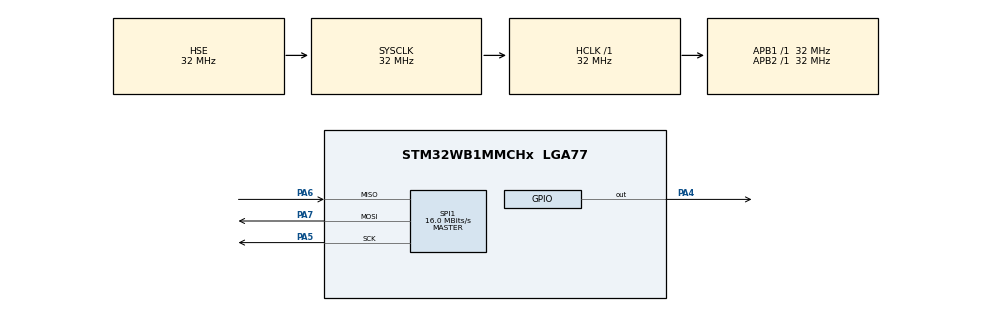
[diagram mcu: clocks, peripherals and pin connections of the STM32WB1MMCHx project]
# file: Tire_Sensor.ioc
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Mcu.Family=STM32WB
Mcu.Name=STM32WB1MMCHx
Mcu.Package=LGA77
NVIC.HSEM_IRQn=true\:0\:0\:false\:false\:true\:false\:true\:true
NVIC.IPCC_C1_RX_IRQn=true\:0\:0\:false\:false\:true\:true\:true\:true
NVIC.IPCC_C1_TX_IRQn=true\:0\:0\:false\:false\:true\:true\:true\:true
NVIC.PriorityGroup=NVIC_PRIORITYGROUP_4
NVIC.RTC_WKUP_IRQn=true\:0\:0\:false\:false\:true\:true\:true\:true
PA4.Signal=GPIO_Output
PA5.Mode=Full_Duplex_Master
PA5.Signal=SPI1_SCK
PA6.Mode=Full_Duplex_Master
PA6.Signal=SPI1_MISO
PA7.Mode=Full_Duplex_Master
PA7.Signal=SPI1_MOSI
ProjectManager.HeapSize=0x200
ProjectManager.StackSize=0x400
ProjectManager.TargetToolchain=STM32CubeIDE
RCC.AHBFreq_Value=32000000
RCC.APB1Freq_Value=32000000
RCC.APB1TimFreq_Value=32000000
RCC.APB2Freq_Value=32000000
RCC.APB2TimFreq_Value=32000000
RCC.APB3Freq_Value=16000000
RCC.CortexFreq_Value=32000000
RCC.HCLKFreq_Value=32000000
RCC.HSE_VALUE=32000000
RCC.HSI_VALUE=16000000
RCC.PLLM=RCC_PLLM_DIV2
RCC.PLLN=6
RCC.PLLSourceVirtual=RCC_PLLSOURCE_HSE
RCC.RFWKPClockSelection=RCC_RFWKPCLKSOURCE_LSE
RCC.RTCClockSelection=RCC_RTCCLKSOURCE_LSE
RCC.SMPSCLockSelectionVirtual=RCC_SMPSCLKSOURCE_HSE
RCC.SMPSDivider=4
RCC.SYSCLKFreq_VALUE=32000000
RCC.SYSCLKSource=RCC_SYSCLKSOURCE_HSE
RCC.VCOOutputFreq_Value=96000000
SPI1.CalculateBaudRate=16.0 MBits/s
SPI1.Direction=SPI_DIRECTION_2LINES
SPI1.Mode=SPI_MODE_MASTER
SPI1.VirtualType=VM_MASTER
STM32_WPAN.AD_TYPE_128_BIT_SERV_UUID_CMPLT_LIST=00,00,23,23,CC,7A,48,2A,98,4A,7F,2E,D5,B3,E5,8F
STM32_WPAN.AD_TYPE_128_BIT_SERV_UUID_CMPLT_LIST_INV=[8F, E5, B3, D5, 2E, 7F, 4A, 98, 2A, 48, 7A, CC, 23, 23, 00, 00]
STM32_WPAN.AD_TYPE_COMPLETE_LOCAL_NAME=SENSOR1
STM32_WPAN.AD_TYPE_COMPLETE_LOCAL_NAME_LENGTH=8
STM32_WPAN.AD_TYPE_SHORTENED_LOCAL_NAME=S1
STM32_WPAN.AD_TYPE_SHORTENED_LOCAL_NAME_LENGTH=3
STM32_WPAN.CFG_BONDING_MODE=1
STM32_WPAN.CFG_LSCLK_LSE=0
STM32_WPAN.CFG_TX_POWER=(0x1F) /* 6dBm */
STM32_WPAN.CUSTOM_P2P_SERVER=Disabled
STM32_WPAN.CUSTOM_TEMPLATE=Enabled
STM32_WPAN.INCLUDE_AD_TYPE_128_BIT_SERV_UUID_CMPLT_LIST=1
STM32_WPAN.INCLUDE_AD_TYPE_16_BIT_SERV_UUID_CMPLT_LIST=0
STM32_WPAN.INCLUDE_AD_TYPE_COMPLETE_LOCAL_NAME=0
STM32_WPAN.INCLUDE_AD_TYPE_LE_ROLE=1
STM32_WPAN.INCLUDE_AD_TYPE_SHORTENED_LOCAL_NAME=1
STM32_WPAN.NUMBER_OF_SERVICES=1
STM32_WPAN.PAIRING_PARAMETERS=ON
STM32_WPAN.SERVICE1_CHAR1_GATT_NOTIFY_ATTRIBUTE_WRITE=\ 
STM32_WPAN.SERVICE1_CHAR1_GATT_NOTIFY_WRITE_REQ_AND_WAIT_FOR_APPL_RESP=\ 
STM32_WPAN.SERVICE1_CHAR1_LENGTH_CHARACTERISTIC=CHAR_VALUE_LEN_VARIABLE
STM32_WPAN.SERVICE1_CHAR1_LONG_NAME=Temperature_Pressure
STM32_WPAN.SERVICE1_CHAR1_PROP_NOTIFY=CHAR_PROP_NOTIFY
STM32_WPAN.SERVICE1_CHAR1_PROP_READ=CHAR_PROP_READ
STM32_WPAN.SERVICE1_CHAR1_SHORT_NAME=Temperature_Pressure
STM32_WPAN.SERVICE1_CHAR1_UUID=23 24
STM32_WPAN.SERVICE1_CHAR1_VALUE_LENGTH=8
STM32_WPAN.SERVICE1_LONG_NAME=sensor
STM32_WPAN.SERVICE1_SHORT_NAME=sensor
STM32_WPAN.SERVICE1_UUID=23 23
VP_HSEM_VS_HSEM.Mode=HSEM_Activate
VP_IPCC_VS_IPCC.Mode=IPCC_Activate
VP_MEMORYMAP_VS_MEMORYMAP.Mode=CurAppReg
VP_RCC_V_OSC32_IN.Mode=LSE-External-Clock-Source
VP_RCC_V_OSC_IN.Mode=HSE-External-Clock-Source
VP_RF_VS_RF.Mode=RF_Activate
VP_RTC_VS_RTC_Activate.Mode=RTC_Enabled
VP_RTC_VS_RTC_WakeUp_intern.Mode=WakeUp
VP_SEQUENCER_VS_SEQUENCER.Mode=SEQUENCER_Enabled
VP_STM32_WPAN_VS_BLE_HOST.Mode=STM32_WPAN_Enabled
VP_TINY_LPM_VS_TINY_LPM.Mode=TINY_LPM_Enabled
board=custom

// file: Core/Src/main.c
/* USER CODE BEGIN Header */
/**
 ******************************************************************************
 * @file           : main.c
 * @brief          : Main program body
 ******************************************************************************
 * @attention
 *
 * Copyright (c) 2025 STMicroelectronics.
 * All rights reserved.
 *
 * This software is licensed under terms that can be found in the LICENSE file
 * in the root directory of this software component.
 * If no LICENSE file comes with this software, it is provided AS-IS.
 *
 ******************************************************************************
 */
/* USER CODE END Header */
#include "main.h"

/* USER CODE BEGIN Includes */
#include "stm32_lpm.h"
/* USER CODE END Includes */

IPCC_HandleTypeDef hipcc;

RTC_HandleTypeDef hrtc;

SPI_HandleTypeDef hspi1;

/* USER CODE BEGIN PV */
uint8_t reset_cmd = 0b00010000;
uint8_t pressure_write_config_cmd = 0b0010000;
uint8_t temp_write_config_cmd = 0b0010001;
uint8_t pressure_read_config_cmd = 0b0010100;
uint8_t temp_read_config_cmd = 0b0010101;
uint8_t read_serial_no_high_cmd = 0b11100100;
uint8_t read_serial_no_low_cmd = 0b11100110;
uint8_t read_c1_cmd = 0b11101000;
uint8_t read_c2_cmd = 0b11101010;
uint8_t read_c3_cmd = 0b11101100;
uint8_t read_c4_cmd = 0b11101110;
uint8_t read_c5_cmd = 0b11110000;
uint8_t read_c6_cmd = 0b11110010;
uint8_t read_c7_cmd = 0b11110100;
uint8_t read_c8_cmd = 0b11110110;
uint8_t read_c9_cmd = 0b11111000;
uint8_t read_c10_cmd = 0b11111010;
uint8_t read_pid_crc_cmd = 0b11111110;
uint8_t start_conversion_cmd = 0b01001100;
uint8_t read_adc_cmd = 0b01011100;
uint16_t C1 = 0;
uint16_t C2 = 0;
uint16_t C3 = 0;
uint16_t C4 = 0;
uint16_t C5 = 0;
uint16_t C6 = 0;
uint16_t C7 = 0;
uint16_t C8 = 0;
uint16_t C9 = 0;
uint16_t C10 = 0;
uint32_t raw_pressure;
uint32_t raw_temp;
float temperature;
float offset;
float sensitivity;
float pressure;
uint8_t TX_BUFFER[1];
uint8_t RX_BUFFER[8];
/* USER CODE END PV */

void SystemClock_Config(void);
void PeriphCommonClock_Config(void);
static void MX_GPIO_Init(void);
static void MX_IPCC_Init(void);
static void MX_RTC_Init(void);
static void MX_SPI1_Init(void);
static void MX_RF_Init(void);

int main(void)
{

  /* MCU Configuration--------------------------------------------------------*/

  /* Reset of all peripherals, Initializes the Flash interface and the Systick. */
  HAL_Init();
  /* Config code for STM32_WPAN (HSE Tuning must be done before system clock configuration) */
  MX_APPE_Config();

  /* Configure the system clock */
  SystemClock_Config();

  /* Configure the peripherals common clocks */
  PeriphCommonClock_Config();

  /* IPCC initialisation */
  MX_IPCC_Init();

  /* USER CODE BEGIN SysInit */
  if (__HAL_PWR_GET_FLAG(PWR_FLAG_SB) != RESET)
   {

   }
  /* USER CODE END SysInit */

  /* Initialize all configured peripherals */
  MX_GPIO_Init();
  MX_RTC_Init();
  MX_SPI1_Init();
  MX_RF_Init();
  /* USER CODE BEGIN 2 */
	HAL_Delay(100);
	TX_BUFFER[0] = reset_cmd;
	HAL_GPIO_WritePin(GPIOA, GPIO_PIN_4, GPIO_PIN_RESET);
	HAL_SPI_Transmit(&hspi1, TX_BUFFER, 1, 1000);
	HAL_GPIO_WritePin(GPIOA, GPIO_PIN_4, GPIO_PIN_SET);
	HAL_Delay(100);

	TX_BUFFER[0] = read_c1_cmd;
	HAL_GPIO_WritePin(GPIOA, GPIO_PIN_4, GPIO_PIN_RESET);
	HAL_SPI_Transmit(&hspi1, TX_BUFFER, 1, 100);
	HAL_SPI_Receive(&hspi1, RX_BUFFER, 2, 100);
	HAL_GPIO_WritePin(GPIOA, GPIO_PIN_4, GPIO_PIN_SET);
	C1 = (RX_BUFFER[0] << 8) | RX_BUFFER[1];

	TX_BUFFER[0] = read_c2_cmd;
	HAL_GPIO_WritePin(GPIOA, GPIO_PIN_4, GPIO_PIN_RESET);
	HAL_SPI_Transmit(&hspi1, TX_BUFFER, 1, 100);
	HAL_SPI_Receive(&hspi1, RX_BUFFER, 2, 100);
	HAL_GPIO_WritePin(GPIOA, GPIO_PIN_4, GPIO_PIN_SET);
	C2 = (RX_BUFFER[0] << 8) | RX_BUFFER[1];

	TX_BUFFER[0] = read_c3_cmd;
	HAL_GPIO_WritePin(GPIOA, GPIO_PIN_4, GPIO_PIN_RESET);
	HAL_SPI_Transmit(&hspi1, TX_BUFFER, 1, 100);
	HAL_SPI_Receive(&hspi1, RX_BUFFER, 2, 100);
	HAL_GPIO_WritePin(GPIOA, GPIO_PIN_4, GPIO_PIN_SET);
	C3 = (RX_BUFFER[0] << 8) | RX_BUFFER[1];

	TX_BUFFER[0] = read_c4_cmd;
	HAL_GPIO_WritePin(GPIOA, GPIO_PIN_4, GPIO_PIN_RESET);
	HAL_SPI_Transmit(&hspi1, TX_BUFFER, 1, 100);
	HAL_SPI_Receive(&hspi1, RX_BUFFER, 2, 100);
	HAL_GPIO_WritePin(GPIOA, GPIO_PIN_4, GPIO_PIN_SET);
	C4 = (RX_BUFFER[0] << 8) | RX_BUFFER[1];

	TX_BUFFER[0] = read_c5_cmd;
	HAL_GPIO_WritePin(GPIOA, GPIO_PIN_4, GPIO_PIN_RESET);
	HAL_SPI_Transmit(&hspi1, TX_BUFFER, 1, 100);
	HAL_SPI_Receive(&hspi1, RX_BUFFER, 2, 100);
	HAL_GPIO_WritePin(GPIOA, GPIO_PIN_4, GPIO_PIN_SET);
	C5 = (RX_BUFFER[0] << 8) | RX_BUFFER[1];

	TX_BUFFER[0] = read_c6_cmd;
	HAL_GPIO_WritePin(GPIOA, GPIO_PIN_4, GPIO_PIN_RESET);
	HAL_SPI_Transmit(&hspi1, TX_BUFFER, 1, 100);
	HAL_SPI_Receive(&hspi1, RX_BUFFER, 2, 100);
	HAL_GPIO_WritePin(GPIOA, GPIO_PIN_4, GPIO_PIN_SET);
	C6 = (RX_BUFFER[0] << 8) | RX_BUFFER[1];

	TX_BUFFER[0] = read_c7_cmd;
	HAL_GPIO_WritePin(GPIOA, GPIO_PIN_4, GPIO_PIN_RESET);
	HAL_SPI_Transmit(&hspi1, TX_BUFFER, 1, 100);
	HAL_SPI_Receive(&hspi1, RX_BUFFER, 2, 100);
	HAL_GPIO_WritePin(GPIOA, GPIO_PIN_4, GPIO_PIN_SET);
	C7 = (RX_BUFFER[0] << 8) | RX_BUFFER[1];

	TX_BUFFER[0] = read_c8_cmd;
	HAL_GPIO_WritePin(GPIOA, GPIO_PIN_4, GPIO_PIN_RESET);
	HAL_SPI_Transmit(&hspi1, TX_BUFFER, 1, 100);
	HAL_SPI_Receive(&hspi1, RX_BUFFER, 2, 100);
	HAL_GPIO_WritePin(GPIOA, GPIO_PIN_4, GPIO_PIN_SET);
	C8 = (RX_BUFFER[0] << 8) | RX_BUFFER[1];

	TX_BUFFER[0] = read_c9_cmd;
	HAL_GPIO_WritePin(GPIOA, GPIO_PIN_4, GPIO_PIN_RESET);
	HAL_SPI_Transmit(&hspi1, TX_BUFFER, 1, 100);
	HAL_SPI_Receive(&hspi1, RX_BUFFER, 2, 100);
	HAL_GPIO_WritePin(GPIOA, GPIO_PIN_4, GPIO_PIN_SET);
	C9 = (RX_BUFFER[0] << 8) | RX_BUFFER[1];

	TX_BUFFER[0] = read_c10_cmd;
	HAL_GPIO_WritePin(GPIOA, GPIO_PIN_4, GPIO_PIN_RESET);
	HAL_SPI_Transmit(&hspi1, TX_BUFFER, 1, 100);
	HAL_SPI_Receive(&hspi1, RX_BUFFER, 2, 100);
	HAL_GPIO_WritePin(GPIOA, GPIO_PIN_4, GPIO_PIN_SET);
	C10 = (RX_BUFFER[0] << 8) | RX_BUFFER[1];

	TX_BUFFER[0] = start_conversion_cmd;
	HAL_GPIO_WritePin(GPIOA, GPIO_PIN_4, GPIO_PIN_RESET);
	HAL_SPI_Transmit(&hspi1, TX_BUFFER, 1, 100);
	HAL_GPIO_WritePin(GPIOA, GPIO_PIN_4, GPIO_PIN_SET);
	HAL_Delay(300);

	TX_BUFFER[0] = read_adc_cmd;
	HAL_GPIO_WritePin(GPIOA, GPIO_PIN_4, GPIO_PIN_RESET);
	HAL_SPI_Transmit(&hspi1, TX_BUFFER, 1, 100);
	HAL_SPI_Receive(&hspi1, RX_BUFFER, 6, 100);
	HAL_GPIO_WritePin(GPIOA, GPIO_PIN_4, GPIO_PIN_SET);
	raw_temp = (RX_BUFFER[0] << 16) | (RX_BUFFER[1] << 8) | (RX_BUFFER[2]);
	raw_pressure = (RX_BUFFER[3] << 16) | (RX_BUFFER[4] << 8) | (RX_BUFFER[5]);
	temperature = (float) (((float) C1 * (float) raw_temp / (float) 536870912)
			- ((float) C3 * (float) raw_pressure / (float) 34359738368)
			- ((float) C2 / (float) 64));
	offset = (float) C6 + (float) C7 * temperature / (float) 512;
	sensitivity = (float) C8 + (float) C9 * temperature / (float) 512;
	pressure = (float) raw_pressure * sensitivity / (float) 4194304 - offset;

  /* USER CODE END 2 */

  /* Init code for STM32_WPAN */
  MX_APPE_Init();

  /* Infinite loop */
	while (1) {
    MX_APPE_Process();

	}
}

void SystemClock_Config(void)
{
  RCC_OscInitTypeDef RCC_OscInitStruct = {0};
  RCC_ClkInitTypeDef RCC_ClkInitStruct = {0};

  /** Configure LSE Drive Capability
  */
  HAL_PWR_EnableBkUpAccess();
  __HAL_RCC_LSEDRIVE_CONFIG(RCC_LSEDRIVE_MEDIUMHIGH);

  /** Initializes the RCC Oscillators according to the specified parameters
  * in the RCC_OscInitTypeDef structure.
  */
  RCC_OscInitStruct.OscillatorType = RCC_OSCILLATORTYPE_HSI|RCC_OSCILLATORTYPE_HSE
                              |RCC_OSCILLATORTYPE_LSE;
  RCC_OscInitStruct.HSEState = RCC_HSE_ON;
  RCC_OscInitStruct.LSEState = RCC_LSE_ON;
  RCC_OscInitStruct.HSIState = RCC_HSI_ON;
  RCC_OscInitStruct.HSICalibrationValue = RCC_HSICALIBRATION_DEFAULT;
  RCC_OscInitStruct.PLL.PLLState = RCC_PLL_NONE;
  if (HAL_RCC_OscConfig(&RCC_OscInitStruct) != HAL_OK)
  {
    Error_Handler();
  }

  /** Configure the SYSCLKSource, HCLK, PCLK1 and PCLK2 clocks dividers
  */
  RCC_ClkInitStruct.ClockType = RCC_CLOCKTYPE_HCLK4|RCC_CLOCKTYPE_HCLK2
                              |RCC_CLOCKTYPE_HCLK|RCC_CLOCKTYPE_SYSCLK
                              |RCC_CLOCKTYPE_PCLK1|RCC_CLOCKTYPE_PCLK2;
  RCC_ClkInitStruct.SYSCLKSource = RCC_SYSCLKSOURCE_HSE;
  RCC_ClkInitStruct.AHBCLKDivider = RCC_SYSCLK_DIV1;
  RCC_ClkInitStruct.APB1CLKDivider = RCC_HCLK_DIV1;
  RCC_ClkInitStruct.APB2CLKDivider = RCC_HCLK_DIV1;
  RCC_ClkInitStruct.AHBCLK2Divider = RCC_SYSCLK_DIV1;
  RCC_ClkInitStruct.AHBCLK4Divider = RCC_SYSCLK_DIV1;

  if (HAL_RCC_ClockConfig(&RCC_ClkInitStruct, FLASH_LATENCY_1) != HAL_OK)
  {
    Error_Handler();
  }
}

void PeriphCommonClock_Config(void)
{
  RCC_PeriphCLKInitTypeDef PeriphClkInitStruct = {0};

  /** Initializes the peripherals clock
  */
  PeriphClkInitStruct.PeriphClockSelection = RCC_PERIPHCLK_SMPS|RCC_PERIPHCLK_RFWAKEUP;
  PeriphClkInitStruct.RFWakeUpClockSelection = RCC_RFWKPCLKSOURCE_LSE;
  PeriphClkInitStruct.SmpsClockSelection = RCC_SMPSCLKSOURCE_HSE;
  PeriphClkInitStruct.SmpsDivSelection = RCC_SMPSCLKDIV_RANGE1;

  if (HAL_RCCEx_PeriphCLKConfig(&PeriphClkInitStruct) != HAL_OK)
  {
    Error_Handler();
  }
}

static void MX_IPCC_Init(void)
{

  hipcc.Instance = IPCC;
  if (HAL_IPCC_Init(&hipcc) != HAL_OK)
  {
    Error_Handler();
  }

}

static void MX_RF_Init(void)
{

}

static void MX_RTC_Init(void)
{

  /** Initialize RTC Only
  */
  hrtc.Instance = RTC;
  hrtc.Init.HourFormat = RTC_HOURFORMAT_24;
  hrtc.Init.AsynchPrediv = CFG_RTC_ASYNCH_PRESCALER;
  hrtc.Init.SynchPrediv = CFG_RTC_SYNCH_PRESCALER;
  hrtc.Init.OutPut = RTC_OUTPUT_DISABLE;
  hrtc.Init.OutPutPolarity = RTC_OUTPUT_POLARITY_HIGH;
  hrtc.Init.OutPutRemap = RTC_OUTPUT_REMAP_NONE;
  if (HAL_RTC_Init(&hrtc) != HAL_OK)
  {
    Error_Handler();
  }

  /** Enable the WakeUp
  */
  /* USER CODE BEGIN RTC_Init 2 */
  // Allow Stop mode for the App (so idle can drop to Stop2)
  UTIL_LPM_SetStopMode(1 << CFG_LPM_APP, UTIL_LPM_ENABLE);

  // Disallow Off/Standby for now (we’ll enable later)
  UTIL_LPM_SetOffMode(1 << CFG_LPM_APP, UTIL_LPM_DISABLE);
  /* USER CODE END RTC_Init 2 */

}

static void MX_SPI1_Init(void)
{

  /* SPI1 parameter configuration*/
  hspi1.Instance = SPI1;
  hspi1.Init.Mode = SPI_MODE_MASTER;
  hspi1.Init.Direction = SPI_DIRECTION_2LINES;
  hspi1.Init.DataSize = SPI_DATASIZE_8BIT;
  hspi1.Init.CLKPolarity = SPI_POLARITY_LOW;
  hspi1.Init.CLKPhase = SPI_PHASE_1EDGE;
  hspi1.Init.NSS = SPI_NSS_SOFT;
  hspi1.Init.BaudRatePrescaler = SPI_BAUDRATEPRESCALER_2;
  hspi1.Init.FirstBit = SPI_FIRSTBIT_MSB;
  hspi1.Init.TIMode = SPI_TIMODE_DISABLE;
  hspi1.Init.CRCCalculation = SPI_CRCCALCULATION_DISABLE;
  hspi1.Init.CRCPolynomial = 7;
  hspi1.Init.CRCLength = SPI_CRC_LENGTH_DATASIZE;
  hspi1.Init.NSSPMode = SPI_NSS_PULSE_ENABLE;
  if (HAL_SPI_Init(&hspi1) != HAL_OK)
  {
    Error_Handler();
  }

}

static void MX_GPIO_Init(void)
{
  GPIO_InitTypeDef GPIO_InitStruct = {0};

  /* GPIO Ports Clock Enable */
  __HAL_RCC_GPIOA_CLK_ENABLE();

  /*Configure GPIO pin Output Level */
  HAL_GPIO_WritePin(GPIOA, GPIO_PIN_4, GPIO_PIN_RESET);

  /*Configure GPIO pin : PA4 */
  GPIO_InitStruct.Pin = GPIO_PIN_4;
  GPIO_InitStruct.Mode = GPIO_MODE_OUTPUT_PP;
  GPIO_InitStruct.Pull = GPIO_NOPULL;
  GPIO_InitStruct.Speed = GPIO_SPEED_FREQ_LOW;
  HAL_GPIO_Init(GPIOA, &GPIO_InitStruct);

}

void Error_Handler(void)
{
	__disable_irq();
	while (1) {
	}
}
